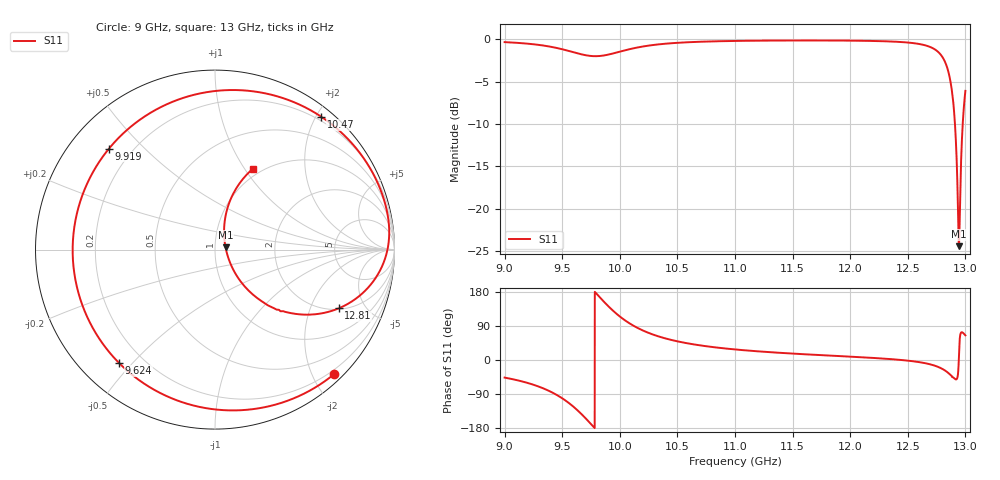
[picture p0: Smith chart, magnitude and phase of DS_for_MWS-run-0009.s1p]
! TOUCHSTONE file generated by CST DESIGN STUDIO
! Date and time: Tue Feb  4 14:32:49 2025
! Project name: C:\Work\MatlabApps\UnitCellOptimizationMatlab\CST\unitcell.cst
! Tree item: Tasks\Sweep1\SPara1\S-Parameters
! Header version: 2024
! Port assignment regex: !\s*Touchstone port\s*([0-9]+)\s*=\s*(CST MWS port|CST DES external port|CST DES block port)\s*(.+)\s* \(\"(.*)\"\)(\s*mode\s*([0-9]+))?.*
! Touchstone port assignment:
! Touchstone port 1 = CST DES external port 1 ("")
# GHz S MA R 50
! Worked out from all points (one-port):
!   4001 points, 9 GHz to 13 GHz, reference 50 ohm
!   lowest |S11| = -24.4 dB at 12.94 GHz (marker M1), VSWR 1.13, Z = 56.2 + j1.42 ohm
!   |S11| at or under -10 dB: 12.91 GHz to 12.98 GHz (67.46 MHz wide, 0.521 % of centre)
!   S11 on the Smith chart (normalised r, x): 9 GHz: 0.13, -2.33; 9.624 GHz: 0.11, -0.46; 9.919 GHz: 0.12, +0.40; 10.47 GHz: 0.14, +2.07; 12.81 GHz: 2.05, -3.21; 13 GHz: 0.91, +1.09
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9  0.9599 -46.4
9.271  0.9291 -67.4
9.402  0.9009 -84.0
9.5  0.8715 -101.0
9.624  0.8275 -130.3
9.705  0.8032 -154.4
9.774  0.7934 -177.1
9.842  0.7973 160.2
9.919  0.8158 136.4
10  0.8433 114.9
10.1  0.877 93.8
10.227  0.9107 74.4
10.47  0.948 51.3
10.5  0.9509 49.3
11  0.9755 27.9
11.5  0.9816 16.9
12  0.9795 8.9
12.5  0.9546 -1.7
12.7  0.8953 -11.9
12.811  0.7629 -25.4
12.856  0.6271 -35.3
12.889  0.4607 -45.0
12.91  0.3115 -50.3
12.932  0.1284 -44.6
12.944  0.06017 12.1
12.957  0.1407 68.5
12.982  0.3594 70.9
13  0.4953 65.0
